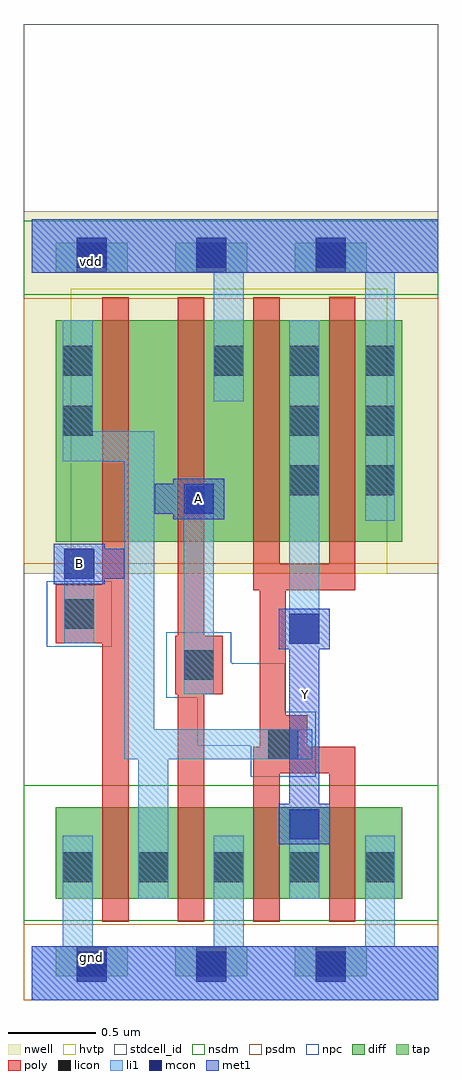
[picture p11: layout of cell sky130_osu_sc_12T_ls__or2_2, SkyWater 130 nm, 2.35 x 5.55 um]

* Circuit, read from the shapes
.subckt sky130_osu_sc_12T_ls__or2_2 A B Y gnd vdd
XM1 n1 B gnd gnd sky130_fd_pr__nfet_01v8 w=0.52 l=0.15
XM2 gnd A n1 gnd sky130_fd_pr__nfet_01v8 w=0.52 l=0.15
XM3 Y n1 gnd gnd sky130_fd_pr__nfet_01v8 w=0.52 l=0.15 m=2
XM4 n2 B n1 vdd sky130_fd_pr__pfet_01v8_hvt w=1.26 l=0.15
XM5 vdd A n2 vdd sky130_fd_pr__pfet_01v8_hvt w=1.26 l=0.15
XM6 Y n1 vdd vdd sky130_fd_pr__pfet_01v8_hvt w=1.26 l=0.15 m=2
.ends

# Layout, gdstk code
import gdstk
lib = gdstk.Library(unit=1e-6, precision=1e-09)
def R(c, l, rs):  # rectangles x0, y0, x1, y1
    for r in rs: c.add(gdstk.rectangle(r[:2], r[2:], *l))
def A(c, l, x, y, w, h, nx, ny, dx, dy):  # array of equal rectangles
    R(c, l, [(x+i*dx, y+j*dy, x+i*dx+w, y+j*dy+h) for i in range(nx) for j in range(ny)])
nwell = (64, 20)
diff = (65, 20)
tap = (65, 44)
poly = (66, 20)
licon = (66, 44)
li1 = (67, 20)
mcon = (67, 44)
met1 = (68, 20)
hvtp = (78, 44)
stdcell_id = (81, 4)
nsdm = (93, 44)
psdm = (94, 20)
npc = (95, 20)

sky130_osu_sc_12t_ls__or = lib.new_cell('sky130_osu_sc_12T_ls__or2_2')
R(sky130_osu_sc_12t_ls__or, nwell, [(-0.045,2.425,2.31,4.485)])
R(sky130_osu_sc_12t_ls__or, diff, [(0.135,0.575,2.105,1.095), (0.135,2.605,2.105,3.865)])
A(sky130_osu_sc_12t_ls__or, tap, 0.135, 0.135, 0.41, 0.17, 3, 2, 0.68, 4)
R(sky130_osu_sc_12t_ls__or, poly, [(0.4,0.445,0.55,2.03), (0.83,0.445,0.98,1.74), (1.26,0.445,1.41,1.29), (1.69,0.445,1.84,1.29), (1.26,1.29,1.84,1.44), (1.295,1.44,1.565,1.62), (1.295,1.62,1.445,2.33), (0.815,1.74,1.085,2.07), (0.135,2.03,0.55,2.36), (0.83,2.07,0.98,3.995), (1.26,2.33,1.84,2.48), (0.4,2.36,0.55,3.995), (1.26,2.48,1.41,3.995), (1.69,2.48,1.84,4)])
A(sky130_osu_sc_12t_ls__or, licon, 0.255, 0.135, 0.17, 0.17, 3, 2, 0.68, 4)
A(sky130_osu_sc_12t_ls__or, licon, 0.175, 0.67, 0.17, 0.17, 5, 1, 0.43, 0)
A(sky130_osu_sc_12t_ls__or, licon, 1.035, 3.55, 0.17, 0.17, 3, 1, 0.43, 0)
R(sky130_osu_sc_12t_ls__or, licon, [(1.345,1.37,1.515,1.54), (0.865,1.82,1.035,1.99), (0.185,2.11,0.355,2.28), (1.465,2.87,1.635,3.04), (1.895,2.87,2.065,3.04), (0.175,3.21,0.345,3.38), (1.465,3.21,1.635,3.38), (1.895,3.21,2.065,3.38), (0.175,3.55,0.345,3.72)])
A(sky130_osu_sc_12t_ls__or, li1, 0.175, 0.305, 0.17, 0.63, 3, 1, 0.86, 0)
R(sky130_osu_sc_12t_ls__or, li1, [(0,0,2.31,0.305), (0.605,0.575,0.775,1.37), (1.465,0.575,1.635,1.085), (0.525,1.37,1.595,1.54), (0.525,1.54,0.695,3.065), (0.865,1.74,1.035,2.935), (1.465,2.025,1.635,3.865), (0.185,2.03,0.355,2.565), (1.895,2.725,2.065,4.135), (0.175,3.065,0.695,3.235), (0.175,3.235,0.345,3.865), (1.035,3.405,1.205,4.135), (0,4.135,2.31,4.44)])
A(sky130_osu_sc_12t_ls__or, mcon, 0.255, 0.105, 0.17, 0.17, 3, 2, 0.68, 4.06)
R(sky130_osu_sc_12t_ls__or, mcon, [(1.465,0.915,1.635,1.085), (1.465,2.025,1.635,2.195), (0.185,2.395,0.355,2.565), (0.865,2.765,1.035,2.935)])
R(sky130_osu_sc_12t_ls__or, met1, [(0,0,2.31,0.305), (1.405,0.885,1.695,1.115), (1.465,1.115,1.635,1.995), (1.405,1.995,1.695,2.225), (0.125,2.365,0.415,2.395), (0.125,2.395,0.525,2.565), (0.125,2.565,0.415,2.595), (0.805,2.735,1.095,2.765), (0.7,2.765,1.095,2.935), (0.805,2.935,1.095,2.965), (0,4.135,2.31,4.44)])
R(sky130_osu_sc_12t_ls__or, hvtp, [(0.22,2.425,2.02,4.045)])
R(sky130_osu_sc_12t_ls__or, stdcell_id, [(-0.045,0,2.31,5.55)])
R(sky130_osu_sc_12t_ls__or, nsdm, [(-0.045,0.45,2.31,1.22), (-0.045,4.01,2.31,4.43)])
R(sky130_osu_sc_12t_ls__or, psdm, [(-0.045,0,2.31,0.43), (-0.045,2.48,2.31,3.99)])
R(sky130_osu_sc_12t_ls__or, npc, [(1.245,1.27,1.615,1.445), (0.94,1.445,1.615,1.64), (0.94,1.64,1.44,1.72), (0.765,1.72,1.44,1.915), (0.765,1.915,1.135,2.09), (0.085,2.01,0.455,2.38)])
sky130_osu_sc_12t_ls__or.add(gdstk.Label('gnd', (0.34,0.24), layer=68, texttype=16))
sky130_osu_sc_12t_ls__or.add(gdstk.Label('vdd', (0.34,4.2), layer=68, texttype=16))
sky130_osu_sc_12t_ls__or.add(gdstk.Label('Y', (1.555,1.74), layer=68, texttype=5))
sky130_osu_sc_12t_ls__or.add(gdstk.Label('A', (0.95,2.85), layer=68, texttype=5))
sky130_osu_sc_12t_ls__or.add(gdstk.Label('B', (0.27,2.48), layer=68, texttype=5))

lib.write_gds('sky130_osu_sc_12T_ls__or2_2.gds')
